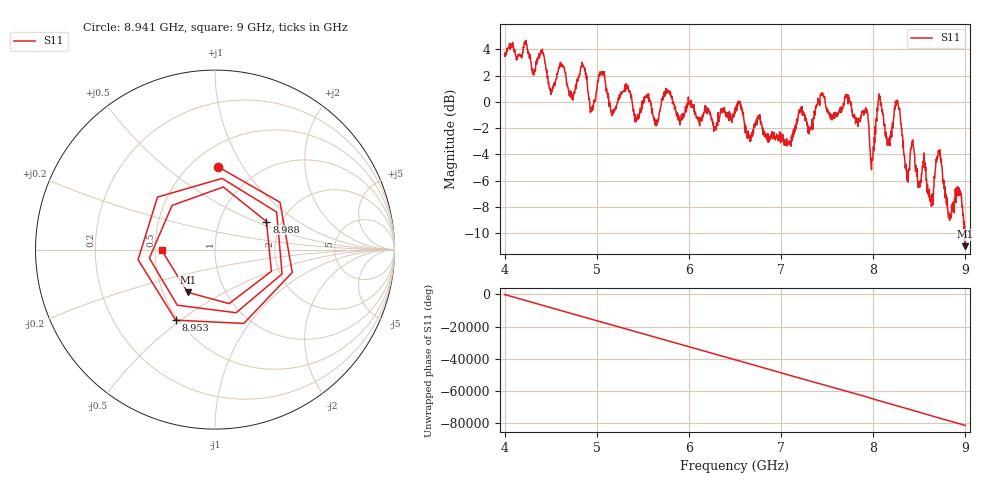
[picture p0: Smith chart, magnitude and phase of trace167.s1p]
! Created with skrf 1.8.0 (http://scikit-rf.org).
# Hz S RI R 50.0
!freq ReS11 ImS11
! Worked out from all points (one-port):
!   1601 points, 4 GHz to 9 GHz, reference 50 ohm
!   lowest |S11| = -11.0 dB at 8.997 GHz (marker M1), VSWR 1.79, Z = 33.2 - j17.2 ohm
!   |S11| at or under -10 dB: 8.993401 GHz to end of sweep
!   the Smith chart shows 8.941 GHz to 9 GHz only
!   S11 on the Smith chart (normalised r, x): 8.941 GHz: 0.67, +0.78; 8.953 GHz: 0.49, -0.48; 8.988 GHz: 1.67, +0.59; 9 GHz: 0.54, -0.00
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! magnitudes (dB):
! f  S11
! 4 GHz  3.6
! 4.406 GHz  3.9
! 4.506 GHz  0.9
! 4.625 GHz  2.8
! 4.728 GHz  0.6
! 4.856 GHz  2.7
! 4.941 GHz  -0.4
! 5.053 GHz  2.2
! 5.25 GHz  0.5
! 5.875 GHz  -0.9
! 6.5 GHz  -0.7
! 7.125 GHz  -2.3
! 7.75 GHz  0.0
! 7.925 GHz  -0.6
! 7.984 GHz  -4.5
! 8.066 GHz  0.4
! 8.166 GHz  -3.3
! 8.266 GHz  0.1
! 8.375 GHz  -5.5
! 8.425 GHz  -3.0
! 8.628 GHz  -7.3
! 8.712 GHz  -3.7
! 8.822 GHz  -8.4
! 8.941 GHz  -6.7
! 8.953 GHz  -6.9
! 8.988 GHz  -9.7
! 8.997 GHz  -11.0
! 9 GHz  -10.5
